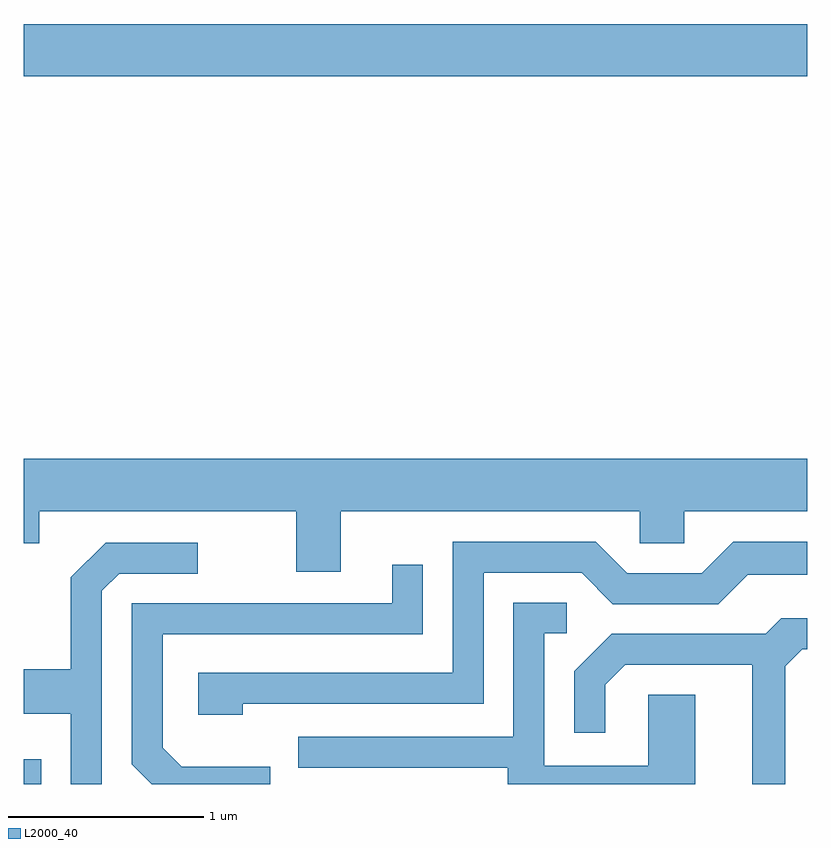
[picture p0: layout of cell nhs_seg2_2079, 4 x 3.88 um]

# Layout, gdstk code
import gdstk
lib = gdstk.Library(unit=1e-6, precision=1e-09)
def R(c, l, rs):  # rectangles x0, y0, x1, y1
    for r in rs: c.add(gdstk.rectangle(r[:2], r[2:], *l))
def P(c, l, *ps):  # polygons
    for p in ps: c.add(gdstk.Polygon(p, *l))
L2000_40 = (2000, 40)

nhs_seg2_2079 = lib.new_cell('nhs_seg2_2079')
R(nhs_seg2_2079, L2000_40, [(245.611,1055.802,245.699,1055.929), (245.611,1059.416,249.611,1059.684)])
P(nhs_seg2_2079, L2000_40, [(245.611,1057.031),(245.689,1057.031),(245.689,1057.196),(247.001,1057.196),(247.001,1056.886),(247.229,1056.886),(247.229,1057.196),(248.756,1057.196),(248.756,1057.031),(248.984,1057.031),(248.984,1057.196),(249.611,1057.196),(249.611,1057.464),(245.611,1057.464)],
  [(246.729,1056.211),(247.959,1056.211),(247.959,1056.881),(248.459,1056.881),(248.619,1056.721),(249.157,1056.721),(249.307,1056.871),(249.611,1056.871),(249.611,1057.039),(249.234,1057.039),(249.074,1056.879),(248.692,1056.879),(248.532,1057.039),(247.801,1057.039),(247.801,1056.369),(246.501,1056.369),(246.501,1056.156),(246.729,1056.156)],
  [(246.009,1056.789),(246.097,1056.876),(246.498,1056.876),(246.498,1057.034),(246.029,1057.034),(245.851,1056.857),(245.851,1056.389),(245.611,1056.389),(245.611,1056.161),(245.851,1056.161),(245.851,1055.802),(246.009,1055.802)],
  [(246.869,1055.889),(246.417,1055.889),(246.319,1055.987),(246.319,1056.566),(247.649,1056.566),(247.649,1056.923),(247.491,1056.923),(247.491,1056.724),(246.161,1056.724),(246.161,1055.904),(246.263,1055.802),(246.869,1055.802)],
  [(249.039,1056.259),(248.801,1056.259),(248.801,1055.894),(248.269,1055.894),(248.269,1056.571),(248.383,1056.571),(248.383,1056.729),(248.111,1056.729),(248.111,1056.044),(247.013,1056.044),(247.013,1055.886),(248.081,1055.886),(248.081,1055.802),(249.039,1055.802)],
  [(249.499,1056.404),(249.587,1056.491),(249.611,1056.491),(249.611,1056.649),(249.479,1056.649),(249.399,1056.569),(248.614,1056.569),(248.421,1056.377),(248.421,1056.063),(248.579,1056.063),(248.579,1056.309),(248.682,1056.411),(249.331,1056.411),(249.331,1055.802),(249.499,1055.802)])

lib.write_gds('nhs_seg2_2079.gds')
